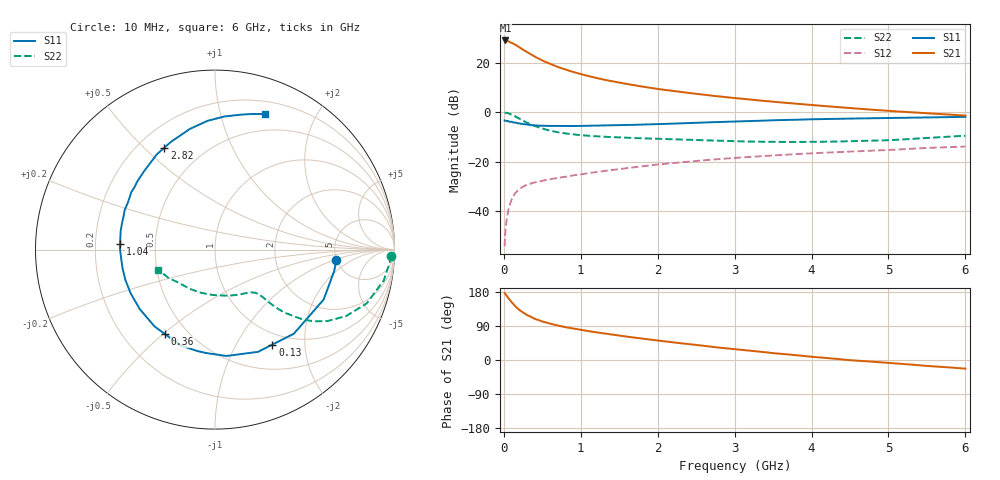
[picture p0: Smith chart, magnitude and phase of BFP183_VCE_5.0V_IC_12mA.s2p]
! Infineon Technologies  Discrete & RF Semiconductors
! BFP183
! VCE = 5.0 V,  IC =  12 mA
! Common Emitter S-Parameters:  Jan 2016
# GHz  S  MA  R  50
!  f  S11  S21  S12  S22
! GHz  MAG  ANG  MAG  ANG  MAG  ANG  MAG  ANG
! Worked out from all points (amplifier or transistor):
!   210 points, 10 MHz to 6 GHz, reference 50 ohm
!   highest |S21| = 28.9 dB at 20 MHz (marker M1)
!   |S21| within 3 dB of that: start of sweep to 214.7 MHz
!   unconditionally stable (mu >= 1): 1.127 GHz to 5.712 GHz
!   at 185 MHz: K = 0.28, MSG = 29.0 dB, |S12| = -31.5 dB
!   at 1.52 GHz: K = 1.09, MAG = 15.4 dB, |S12| = -22.8 dB
!   at 6 GHz: K = 0.96, MSG = 6.2 dB, |S12| = -13.9 dB
!   S11 on the Smith chart (normalised r, x): 10 MHz: 5.00, -1.08; 130 MHz: 0.83, -1.42; 360 MHz: 0.38, -0.51; 1.04 GHz: 0.31, +0.03; 2.82 GHz: 0.30, +0.58; 6 GHz: 0.32, +1.38
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0.01  0.6794 -4.9  27.71 176.9  0.002 86.1  0.9816 -2.0
0.02  0.6746 -10.3  27.8 174.3  0.004 81.4  0.9764 -4.1
0.05  0.6662 -24.7  27.15 165.6  0.0092 80.0  0.9565 -10.3
0.07  0.6449 -33.4  26.16 160.7  0.0124 73.8  0.9299 -13.8
0.1  0.6423 -46.9  25.05 152.8  0.0174 68.8  0.8971 -19.5
0.13  0.6183 -58.9  23.6 146.2  0.0211 63.8  0.8484 -23.8
0.15  0.6181 -67.2  22.82 141.3  0.0236 61.4  0.8188 -26.9
0.185  0.5972 -78.8  21.06 135.1  0.0267 57.2  0.7651 -30.6
0.24  0.5783 -95.0  18.54 126.3  0.0309 52.3  0.688 -35.5
0.3  0.5672 -109.9  16.24 118.7  0.0345 48.9  0.6133 -38.9
0.36  0.5468 -120.7  14.34 113.2  0.0368 47.1  0.5602 -40.7
0.4  0.5446 -128.2  13.17 108.7  0.0384 46.1  0.5251 -42.1
0.5  0.5344 -141.6  10.92 101.6  0.0417 43.8  0.4659 -43.6
0.6  0.5293 -152.6  9.399 95.9  0.0446 43.4  0.424 -44.3
1.02  0.5299 177.8  5.721 78.8  0.0564 44.9  0.3423 -45.9
1.04  0.5299 176.7  5.623 78.2  0.0571 45.0  0.3403 -46.1
2.02  0.5762 138.4  2.906 51.0  0.0889 44.4  0.2907 -58.1
2.82  0.6344 116.4  2.055 32.2  0.114 40.0  0.2659 -75.1
3.1  0.6546 110.0  1.86 26.6  0.1227 38.3  0.2577 -82.1
4.1  0.7226 91.9  1.354 6.9  0.1511 30.8  0.253 -111.1
5.1  0.766 79.0  1.038 -9.1  0.1765 24.2  0.2775 -139.3
6  0.8041 69.9  0.854 -22.8  0.2029 16.4  0.3357 -160.4
